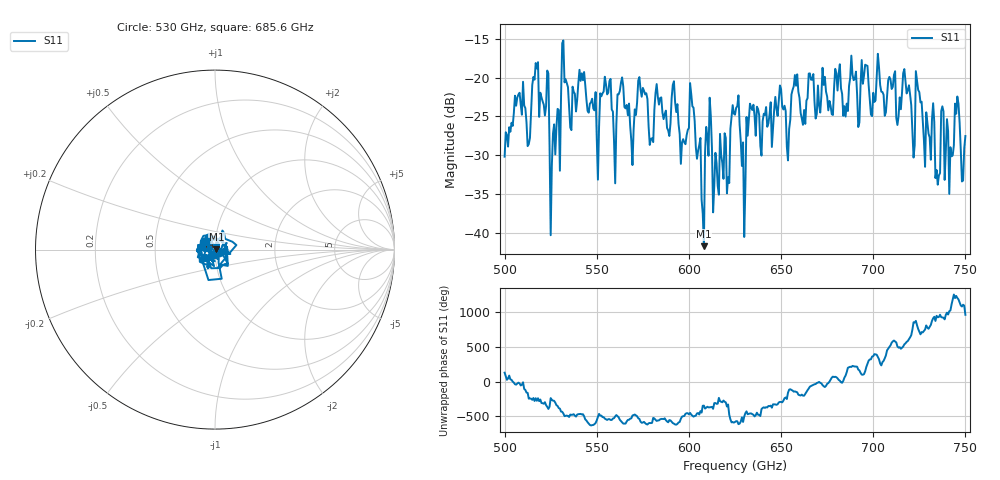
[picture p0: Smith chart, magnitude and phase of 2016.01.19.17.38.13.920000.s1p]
!Created with skrf (http://scikit-rf.org).
# GHz S RI R 50.0
!freq ReS11 ImS11
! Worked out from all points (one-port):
!   401 points, 500 GHz to 750 GHz, reference 50 ohm
!   lowest |S11| = -41.7 dB at 608.1 GHz (marker M1), VSWR 1.02, Z = 50.8 + j0.17 ohm
!   |S11| at or under -10 dB: start of sweep to end of sweep
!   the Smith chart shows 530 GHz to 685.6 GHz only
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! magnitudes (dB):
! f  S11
! 500 GHz  -30.2
! 506.9 GHz  -22.6
! 513.1 GHz  -28.6
! 516.9 GHz  -18.1
! 526.2 GHz  -27.2
! 531.2 GHz  -15.6
! 550 GHz  -27.9
! 556.2 GHz  -21.9
! 559.4 GHz  -28.3
! 562.5 GHz  -21.7
! 569.4 GHz  -31.2
! 573.8 GHz  -21.5
! 579.4 GHz  -27.9
! 593.8 GHz  -23.4
! 601.9 GHz  -23.7
! 608.1 GHz  -41.7
! 610.6 GHz  -30.1
! 614.4 GHz  -29.7
! 625 GHz  -24.8
! 629.4 GHz  -28.3
! 633.8 GHz  -23.8
! 653.8 GHz  -30.7
! 656.2 GHz  -21.6
! 687.5 GHz  -20.0
! 718.8 GHz  -21.6
! 735 GHz  -33.8
! 745.6 GHz  -22.4
! 750 GHz  -27.5
